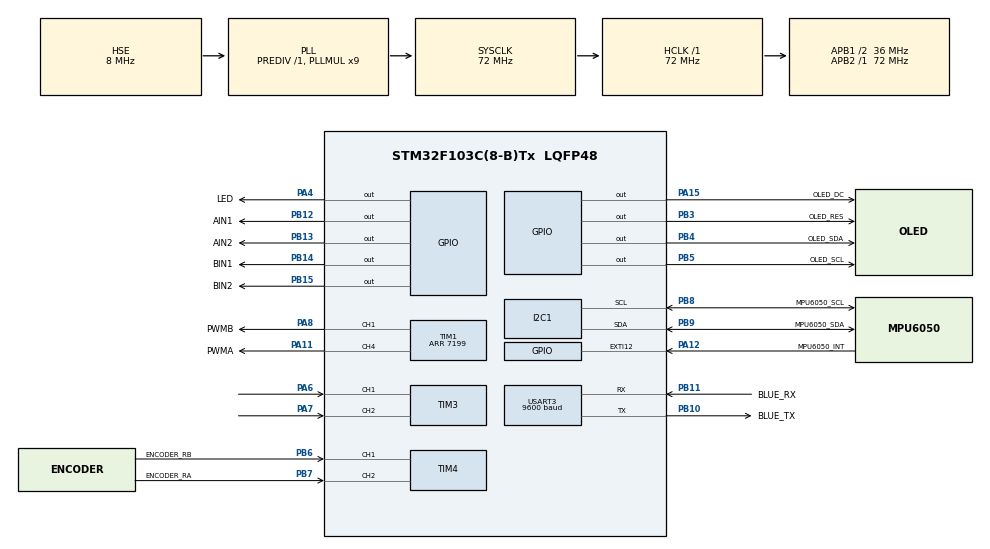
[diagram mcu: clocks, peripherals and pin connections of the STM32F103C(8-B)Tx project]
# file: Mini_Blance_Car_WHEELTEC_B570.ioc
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Dma.Request0=USART3_RX
Dma.Request1=USART3_TX
Dma.USART3_RX.0.Direction=DMA_PERIPH_TO_MEMORY
Dma.USART3_RX.0.Instance=DMA1_Channel3
Dma.USART3_RX.0.MemDataAlignment=DMA_MDATAALIGN_BYTE
Dma.USART3_RX.0.MemInc=DMA_MINC_ENABLE
Dma.USART3_RX.0.Mode=DMA_NORMAL
Dma.USART3_RX.0.PeriphDataAlignment=DMA_PDATAALIGN_BYTE
Dma.USART3_RX.0.PeriphInc=DMA_PINC_DISABLE
Dma.USART3_RX.0.Priority=DMA_PRIORITY_LOW
Dma.USART3_TX.1.Direction=DMA_MEMORY_TO_PERIPH
Dma.USART3_TX.1.Instance=DMA1_Channel2
Dma.USART3_TX.1.MemDataAlignment=DMA_MDATAALIGN_BYTE
Dma.USART3_TX.1.MemInc=DMA_MINC_ENABLE
Dma.USART3_TX.1.Mode=DMA_NORMAL
Dma.USART3_TX.1.PeriphDataAlignment=DMA_PDATAALIGN_BYTE
Dma.USART3_TX.1.PeriphInc=DMA_PINC_DISABLE
Dma.USART3_TX.1.Priority=DMA_PRIORITY_LOW
I2C1.I2C_Mode=I2C_Fast
Mcu.Family=STM32F1
Mcu.Name=STM32F103C(8-B)Tx
Mcu.Package=LQFP48
NVIC.DMA1_Channel2_IRQn=true\:0\:0\:false\:false\:true\:false\:true\:true
NVIC.DMA1_Channel3_IRQn=true\:0\:0\:false\:false\:true\:false\:true\:true
NVIC.EXTI15_10_IRQn=true\:0\:0\:false\:false\:true\:true\:true\:true
NVIC.PriorityGroup=NVIC_PRIORITYGROUP_4
NVIC.USART3_IRQn=true\:0\:0\:false\:false\:true\:true\:true\:true
PA11.GPIO_Label=PWMA
PA11.Signal=S_TIM1_CH4
PA12.GPIO_Label=MPU6050_INT
PA12.GPIO_PuPd=GPIO_PULLUP
PA12.Signal=GPXTI12
PA13.Mode=Serial_Wire
PA13.Signal=SYS_JTMS-SWDIO
PA14.Mode=Serial_Wire
PA14.Signal=SYS_JTCK-SWCLK
PA15.GPIO_Label=OLED_DC
PA15.GPIO_Speed=GPIO_SPEED_FREQ_HIGH
PA15.Signal=GPIO_Output
PA4.GPIO_Label=LED
PA4.GPIO_Speed=GPIO_SPEED_FREQ_LOW
PA4.PinState=GPIO_PIN_RESET
PA4.Signal=GPIO_Output
PA6.Signal=S_TIM3_CH1
PA7.Signal=S_TIM3_CH2
PA8.GPIO_Label=PWMB
PA8.Signal=S_TIM1_CH1
PB10.GPIO_Label=BLUE_TX
PB10.Mode=Asynchronous
PB10.Signal=USART3_TX
PB11.GPIO_Label=BLUE_RX
PB11.Mode=Asynchronous
PB11.Signal=USART3_RX
PB12.GPIO_Label=AIN1
PB12.GPIO_Speed=GPIO_SPEED_FREQ_HIGH
PB12.Signal=GPIO_Output
PB13.GPIO_Label=AIN2
PB13.GPIO_Speed=GPIO_SPEED_FREQ_HIGH
PB13.Signal=GPIO_Output
PB14.GPIO_Label=BIN1
PB14.GPIO_Speed=GPIO_SPEED_FREQ_HIGH
PB14.Signal=GPIO_Output
PB15.GPIO_Label=BIN2
PB15.GPIO_Speed=GPIO_SPEED_FREQ_HIGH
PB15.Signal=GPIO_Output
PB3.GPIO_Label=OLED_RES
PB3.GPIO_Speed=GPIO_SPEED_FREQ_HIGH
PB3.Signal=GPIO_Output
PB4.GPIO_Label=OLED_SDA
PB4.GPIO_Speed=GPIO_SPEED_FREQ_HIGH
PB4.Signal=GPIO_Output
PB5.GPIO_Label=OLED_SCL
PB5.GPIO_Speed=GPIO_SPEED_FREQ_HIGH
PB5.Signal=GPIO_Output
PB6.GPIO_Label=ENCODER_RB
PB6.Signal=S_TIM4_CH1
PB7.GPIO_Label=ENCODER_RA
PB7.Signal=S_TIM4_CH2
PB8.GPIO_Label=MPU6050_SCL
PB8.Mode=I2C
PB8.Signal=I2C1_SCL
PB9.GPIO_Label=MPU6050_SDA
PB9.Mode=I2C
PB9.Signal=I2C1_SDA
PD0-OSC_IN.Mode=HSE-External-Oscillator
PD0-OSC_IN.Signal=RCC_OSC_IN
PD1-OSC_OUT.Mode=HSE-External-Oscillator
PD1-OSC_OUT.Signal=RCC_OSC_OUT
ProjectManager.HeapSize=0x200
ProjectManager.StackSize=0x400
ProjectManager.TargetToolchain=CMake
RCC.AHBFreq_Value=72000000
RCC.APB1CLKDivider=RCC_HCLK_DIV2
RCC.APB1Freq_Value=36000000
RCC.APB1TimFreq_Value=72000000
RCC.APB2Freq_Value=72000000
RCC.APB2TimFreq_Value=72000000
RCC.HCLKFreq_Value=72000000
RCC.PLLMUL=RCC_PLL_MUL9
RCC.PLLSourceVirtual=RCC_PLLSOURCE_HSE
RCC.SYSCLKFreq_VALUE=72000000
RCC.SYSCLKSource=RCC_SYSCLKSOURCE_PLLCLK
RCC.USBFreq_Value=72000000
SH.S_TIM1_CH1.0=TIM1_CH1,PWM Generation1 CH1
SH.S_TIM1_CH4.0=TIM1_CH4,PWM Generation4 CH4
SH.S_TIM3_CH1.0=TIM3_CH1,Encoder_Interface
SH.S_TIM3_CH2.0=TIM3_CH2,Encoder_Interface
SH.S_TIM4_CH1.0=TIM4_CH1,Encoder_Interface
SH.S_TIM4_CH2.0=TIM4_CH2,Encoder_Interface
TIM1.Channel-PWM\ Generation1\ CH1=TIM_CHANNEL_1
TIM1.Channel-PWM\ Generation4\ CH4=TIM_CHANNEL_4
TIM1.Period=7199
TIM3.EncoderMode=TIM_ENCODERMODE_TI12
TIM3.IC1Filter=10
TIM3.IC2Filter=10
TIM4.EncoderMode=TIM_ENCODERMODE_TI12
TIM4.IC1Filter=10
TIM4.IC2Filter=10
USART3.BaudRate=9600
USART3.VirtualMode=VM_ASYNC
board=custom

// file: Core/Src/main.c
/* USER CODE BEGIN Header */
/**
  ******************************************************************************
  * @file           : main.c
  * @brief          : Main program body
  ******************************************************************************
  * @attention
  *
  * Copyright (c) 2026 STMicroelectronics.
  * All rights reserved.
  *
  * This software is licensed under terms that can be found in the LICENSE file
  * in the root directory of this software component.
  * If no LICENSE file comes with this software, it is provided AS-IS.
  *
  ******************************************************************************
  */
/* USER CODE END Header */
#include "main.h"
#include "dma.h"
#include "i2c.h"
#include "tim.h"
#include "usart.h"
#include "gpio.h"

/* USER CODE BEGIN Includes */
#include "Hardware/LED.h"
#include "Hardware/Blue.h"
#include "Hardware/OLED.h"
#include "Hardware/Motor.h"
#include "Hardware/Encoder.h"
#include "Hardware/MPU6050/mpu6050.h"
#include "Hardware/MPU6050/inv_mpu.h"
#include "Hardware/MPU6050/inv_mpu_dmp_motion_driver.h"
#include "Algorithm/pid.h"
#include <math.h>
#include "Hardware/Encoder.h"
/* USER CODE END Includes */

/* USER CODE BEGIN PV */
PID_t pid_stand;   // 直立环 (位置式, PD)
PID_t pid_speed;   // 速度环 (增量式, PI)
PID_t pid_turn;    // 转向环 (位置式, P 就行)`
/* USER CODE END PV */

void SystemClock_Config(void);

/* USER CODE BEGIN 0 */
/* ================= MPU6050 / DMP 诊断 ================= */
volatile uint8_t mpu_dmp_ready = 0;   // EXTI 中断置位, 主循环消费
uint8_t  mpu_who      = 0;    // WHO_AM_I 读回值 (应为 0x68)
int      mpu_fifo_ret = -1;  // dmp_read_fifo 返回值 (0 = 成功)
short    mpu_sensors  = 0;    // DMP sensors 掩码
uint8_t  mpu_more     = 0;    // FIFO 仍有剩余标志

#define MPU_Q30  1073741824.0f

/* 读一次 DMP FIFO 并更新姿态角, 同时记录诊断信息 */
static void MPU_Diag_Update(void)
{
    long quat[4] = {0, 0, 0, 0};
    unsigned long ts = 0;
    unsigned char more = 0;
    short sensors = 0;

    /* 1) 直接读 WHO_AM_I, 确认 I2C 通路 */
    mpu_who = MPU6050_getDeviceID();

    /* 2) 读 DMP FIFO (返回值反映 DMP 是否真的在工作) */
    mpu_fifo_ret = dmp_read_fifo(gyro, accel, quat, &ts, &sensors, &more);
    mpu_sensors  = sensors;
    mpu_more     = more;

    /* 3) 只有拿到有效四元数才更新姿态角, 避免用栈垃圾值算出假角度 */
    if ((mpu_fifo_ret == 0) && (sensors & INV_WXYZ_QUAT)) {
        float q0 = quat[0] / MPU_Q30;
        float q1 = quat[1] / MPU_Q30;
        float q2 = quat[2] / MPU_Q30;
        float q3 = quat[3] / MPU_Q30;
        Roll  = asin(-2 * q1 * q3 + 2 * q0 * q2) * 57.3f;
        Pitch = atan2(2 * q2 * q3 + 2 * q0 * q1, -2 * q1 * q1 - 2 * q2 * q2 + 1) * 57.3f;
        Yaw   = atan2(2 * (q1 * q2 + q0 * q3), q0 * q0 + q1 * q1 - q2 * q2 - q3 * q3) * 57.3f;
    }
}

/* OLED 工具: 打印 1 个十六进制字节 */
static void OLED_ShowHex8(uint8_t x, uint8_t y, uint8_t val)
{
    OLED_ShowChar(x,     y, "0123456789ABCDEF"[val >> 4], 12, 1);
    OLED_ShowChar(x + 6, y, "0123456789ABCDEF"[val & 0x0F], 12, 1);
}

/* OLED 工具: 带符号十进制显示 */
static void OLED_ShowSigned(uint8_t x, uint8_t y, int32_t val, uint8_t len)
{
    if (val < 0) {
        OLED_ShowChar(x, y, '-', 12, 1);
        OLED_ShowNumber(x + 8, y, (u32)(-val), len, 12);
    } else {
        OLED_ShowChar(x, y, ' ', 12, 1);
        OLED_ShowNumber(x + 8, y, (u32)val, len, 12);
    }
}
/* USER CODE END 0 */

int main(void)
{

  /* MCU Configuration--------------------------------------------------------*/

  /* Reset of all peripherals, Initializes the Flash interface and the Systick. */
  HAL_Init();

  /* Configure the system clock */
  SystemClock_Config();

  /* Initialize all configured peripherals */
  MX_GPIO_Init();
  MX_DMA_Init();
  MX_USART3_UART_Init();
  MX_TIM1_Init();
  MX_TIM4_Init();
  MX_TIM3_Init();
  MX_I2C1_Init();
  /* USER CODE BEGIN 2 */
  Blue_Init();
  OLED_Init();
  Motor_Init();
  Encoder_Init();
  MPU6050_initialize();
  DMP_Init();
  Motor_SetPWM(0, 0);
  /* USER CODE END 2 */

  /* Infinite loop */
  /* USER CODE BEGIN WHILE */
  uint32_t tick_oled = HAL_GetTick();
  while (1)
  {
    /* MPU6050: 中断只置标志, DMP 在这里读 (不能在中断里跑 HAL_I2C) */
    if (mpu_dmp_ready) {
        mpu_dmp_ready = 0;
        MPU_Diag_Update();
    }

    /* OLED 每 1s 刷新一次 */
    if (HAL_GetTick() - tick_oled >= 1000) {
        tick_oled = HAL_GetTick();
        Encoder_Update();
        OLED_Clear();

        /* 行1: 自检 -> WHO_AM_I | dmp_read_fifo 返回值 | sensors 掩码 */
        OLED_ShowString(0, 0, "W");
        OLED_ShowHex8(12, 0, mpu_who);
        OLED_ShowString(20, 0, "F");
        OLED_ShowNumber(26, 0, (u32)mpu_fifo_ret, 3, 12);
        OLED_ShowString(44, 0, "S");
        OLED_ShowHex8(50, 0, (uint8_t)mpu_sensors);

        /* 行2: 姿态角 Pitch / Roll */
        OLED_ShowString(0, 12, "P");
        OLED_ShowSigned(8, 12, (int32_t)Pitch, 3);
        OLED_ShowString(52, 12, "R");
        OLED_ShowSigned(60, 12, (int32_t)Roll, 3);

        /* 行3: 原始数据 gyro[0] / accel[0] */
        OLED_ShowString(0, 24, "G");
        OLED_ShowSigned(8, 24, (int32_t)gyro[0], 5);
        OLED_ShowString(52, 24, "A");
        OLED_ShowSigned(60, 24, (int32_t)accel[0], 5);

        /* 行4/5: 编码器计数 */
        OLED_ShowString(0, 36, "EA");
        OLED_ShowSigned(18, 36, (int32_t)Encoder_GetCountA, 5);
        OLED_ShowString(0, 48, "EB");
        OLED_ShowSigned(18, 48, (int32_t)Encoder_GetCountB, 5);

        OLED_Refresh_Gram();   // 把 GRAM 推送到屏幕，否则只写缓冲、屏一直全黑
    }
    HAL_Delay(1);
    /* USER CODE END WHILE */

  }
}

void SystemClock_Config(void)
{
  RCC_OscInitTypeDef RCC_OscInitStruct = {0};
  RCC_ClkInitTypeDef RCC_ClkInitStruct = {0};

  /** Initializes the RCC Oscillators according to the specified parameters
  * in the RCC_OscInitTypeDef structure.
  */
  RCC_OscInitStruct.OscillatorType = RCC_OSCILLATORTYPE_HSE;
  RCC_OscInitStruct.HSEState = RCC_HSE_ON;
  RCC_OscInitStruct.HSEPredivValue = RCC_HSE_PREDIV_DIV1;
  RCC_OscInitStruct.HSIState = RCC_HSI_ON;
  RCC_OscInitStruct.PLL.PLLState = RCC_PLL_ON;
  RCC_OscInitStruct.PLL.PLLSource = RCC_PLLSOURCE_HSE;
  RCC_OscInitStruct.PLL.PLLMUL = RCC_PLL_MUL9;
  if (HAL_RCC_OscConfig(&RCC_OscInitStruct) != HAL_OK)
  {
    Error_Handler();
  }

  /** Initializes the CPU, AHB and APB buses clocks
  */
  RCC_ClkInitStruct.ClockType = RCC_CLOCKTYPE_HCLK|RCC_CLOCKTYPE_SYSCLK
                              |RCC_CLOCKTYPE_PCLK1|RCC_CLOCKTYPE_PCLK2;
  RCC_ClkInitStruct.SYSCLKSource = RCC_SYSCLKSOURCE_PLLCLK;
  RCC_ClkInitStruct.AHBCLKDivider = RCC_SYSCLK_DIV1;
  RCC_ClkInitStruct.APB1CLKDivider = RCC_HCLK_DIV2;
  RCC_ClkInitStruct.APB2CLKDivider = RCC_HCLK_DIV1;

  if (HAL_RCC_ClockConfig(&RCC_ClkInitStruct, FLASH_LATENCY_2) != HAL_OK)
  {
    Error_Handler();
  }
}

void Error_Handler(void)
{
  __disable_irq();
  while (1)
  {
  }
}
